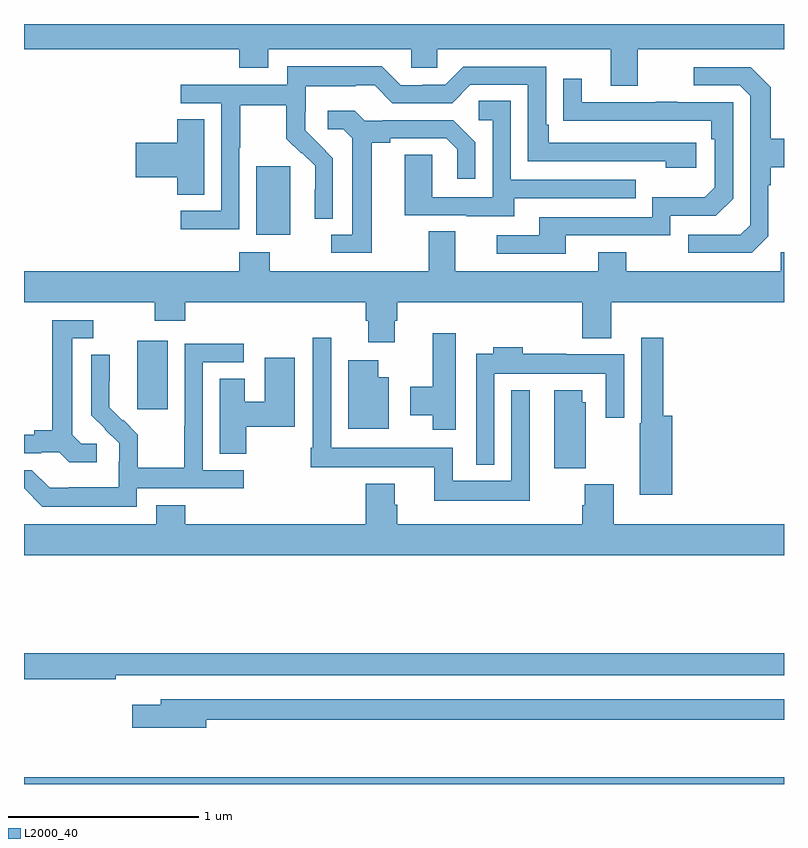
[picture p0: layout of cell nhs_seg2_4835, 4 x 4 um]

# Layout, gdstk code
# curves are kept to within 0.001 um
import gdstk
lib = gdstk.Library(unit=1e-6, precision=1e-09)
def R(c, l, rs):  # rectangles x0, y0, x1, y1
    for r in rs: c.add(gdstk.rectangle(r[:2], r[2:], *l))
def P(c, l, *ps):  # polygons
    for p in ps: c.add(gdstk.Polygon(p, *l))
L2000_40 = (2000, 40)

nhs_seg2_4835 = lib.new_cell('nhs_seg2_4835')
R(nhs_seg2_4835, L2000_40, [(375,611.8,379,611.836), (375.596,613.773,375.757,614.134), (376.223,614.69,376.402,615.051)])
P(nhs_seg2_4835, L2000_40, [(378.229,615.668),(379,615.668),(379,615.8),(375,615.8),(375,615.668),(376.133,615.668),(376.133,615.569),(376.285,615.569),(376.285,615.668),(377.037,615.668),(377.037,615.57),(377.175,615.57),(377.175,615.668),(378.089,615.668),(378.089,615.474),(378.229,615.474)],
  [(376.134,615.148),(376.137,615.148),(376.137,615.372),(376.381,615.372),(376.381,615.197),(376.458,615.12),(376.461,615.123),(376.532,615.053),(376.532,614.93),(376.53,614.93),(376.53,614.776),(376.626,614.776),(376.626,615.094),(376.48,615.242),(376.48,615.339),(376.482,615.339),(376.482,615.473),(376.745,615.473),(376.745,615.477),(376.845,615.477),(376.938,615.384),(377.253,615.384),(377.349,615.48),(377.652,615.48),(377.652,615.078),(378.377,615.078),(378.377,615.044),(378.538,615.044),(378.538,615.174),(377.761,615.174),(377.761,615.271),(377.748,615.271),(377.748,615.576),(377.313,615.576),(377.217,615.48),(377.099,615.48),(377.099,615.477),(376.983,615.477),(376.883,615.577),(376.386,615.577),(376.386,615.48),(375.825,615.48),(375.825,615.384),(376.038,615.384),(376.038,614.817),(375.825,614.817),(375.825,614.719),(376.134,614.719)],
  [(378.918,614.682),(378.918,614.951),(378.931,614.951),(378.931,615.047),(379,615.047),(379,615.195),(378.931,615.195),(378.931,615.467),(378.825,615.573),(378.525,615.573),(378.525,615.477),(378.768,615.477),(378.822,615.423),(378.822,614.742),(378.771,614.691),(378.495,614.691),(378.495,614.595),(378.831,614.595)],
  [(377.851,614.688),(378.402,614.688),(378.402,614.79),(378.642,614.79),(378.732,614.88),(378.732,615.387),(378.437,615.387),(378.437,615.392),(378.325,615.392),(378.325,615.387),(377.935,615.387),(377.935,615.511),(377.839,615.511),(377.839,615.292),(378.616,615.291),(378.616,615.194),(378.636,615.194),(378.636,614.94),(378.583,614.887),(378.306,614.887),(378.306,614.784),(377.711,614.784),(377.711,614.688),(377.487,614.688),(377.487,614.592),(377.851,614.592)],
  [(377.581,614.883),(378.221,614.883),(378.221,614.979),(377.562,614.979),(377.562,615.395),(377.394,615.395),(377.394,615.294),(377.466,615.294),(377.466,614.889),(377.148,614.889),(377.148,615.113),(377.003,615.113),(377.003,614.793),(377.327,614.793),(377.327,614.789),(377.581,614.789)],
  [(376.831,615.176),(376.927,615.176),(376.927,615.198),(377.222,615.198),(377.279,615.141),(377.279,614.985),(377.376,614.985),(377.376,615.178),(377.26,615.294),(376.888,615.294),(376.888,615.291),(376.794,615.291),(376.742,615.343),(376.599,615.343),(376.599,615.246),(376.68,615.246),(376.727,615.199),(376.727,614.691),(376.617,614.691),(376.617,614.595),(376.831,614.595)],
  [(375.949,615.299),(375.806,615.299),(375.806,615.176),(375.588,615.176),(375.588,614.993),(375.806,614.993),(375.806,614.902),(375.949,614.902)],
  [(376.951,614.238),(376.964,614.238),(376.964,614.336),(377.939,614.336),(377.939,614.147),(378.091,614.147),(378.091,614.336),(379,614.336),(379,614.599),(378.984,614.599),(378.984,614.5),(378.171,614.5),(378.171,614.599),(378.023,614.599),(378.023,614.5),(377.269,614.5),(377.269,614.708),(377.129,614.708),(377.129,614.5),(376.293,614.5),(376.293,614.599),(376.133,614.599),(376.133,614.5),(375,614.5),(375,614.336),(375.688,614.336),(375.688,614.237),(375.848,614.237),(375.848,614.336),(376.799,614.336),(376.799,614.238),(376.811,614.238),(376.811,614.124),(376.951,614.124)],
  [(375.382,613.59),(375.3,613.59),(375.253,613.637),(375.253,614.145),(375.364,614.145),(375.364,614.241),(375.149,614.241),(375.149,613.661),(375.053,613.661),(375.053,613.638),(375,613.638),(375,613.542),(375.092,613.542),(375.092,613.545),(375.186,613.545),(375.238,613.493),(375.382,613.493)],
  [(377.272,614.173),(377.15,614.173),(377.15,613.89),(377.033,613.89),(377.033,613.742),(377.15,613.742),(377.15,613.665),(377.272,613.665)],
  [(378.413,613.738),(378.365,613.738),(378.365,614.149),(378.249,614.149),(378.249,613.698),(378.242,613.698),(378.242,613.322),(378.413,613.322)],
  [(377.662,613.873),(377.565,613.873),(377.565,613.396),(377.256,613.396),(377.256,613.57),(376.617,613.57),(376.617,614.149),(376.521,614.149),(376.521,613.57),(376.509,613.57),(376.509,613.466),(377.159,613.466),(377.159,613.292),(377.662,613.292)],
  [(375.594,613.356),(376.156,613.356),(376.156,613.452),(375.942,613.452),(375.942,614.019),(376.156,614.019),(376.156,614.118),(375.846,614.118),(375.846,613.685),(375.844,613.685),(375.844,613.465),(375.599,613.465),(375.599,613.639),(375.522,613.716),(375.519,613.713),(375.449,613.784),(375.449,613.919),(375.451,613.919),(375.451,614.06),(375.354,614.06),(375.354,613.742),(375.5,613.594),(375.5,613.497),(375.498,613.497),(375.498,613.363),(375.235,613.363),(375.235,613.359),(375.135,613.359),(375.042,613.452),(375,613.452),(375,613.356),(375.097,613.259),(375.594,613.259)],
  [(377.475,613.958),(378.063,613.958),(378.063,613.728),(378.159,613.728),(378.159,614.062),(377.855,614.062),(377.855,614.065),(377.624,614.065),(377.624,614.098),(377.471,614.098),(377.471,614.065),(377.379,614.065),(377.379,613.481),(377.475,613.481)],
  [(376.17,613.679),(376.426,613.679),(376.426,614.044),(376.268,614.044),(376.268,613.813),(376.162,613.813),(376.162,613.934),(376.031,613.934),(376.031,613.537),(376.17,613.537)],
  [(376.921,613.942),(376.864,613.942),(376.864,614.029),(376.706,614.029),(376.706,613.67),(376.921,613.67)],
  [(377.956,613.809),(377.938,613.809),(377.938,613.873),(377.792,613.873),(377.792,613.462),(377.956,613.462)],
  [(379,613.168),(378.104,613.168),(378.104,613.377),(377.951,613.377),(377.951,613.268),(377.939,613.268),(377.939,613.168),(376.964,613.168),(376.964,613.269),(376.951,613.269),(376.951,613.381),(376.799,613.381),(376.799,613.168),(375.848,613.168),(375.848,613.267),(375.695,613.267),(375.695,613.168),(375,613.168),(375,613.004),(379,613.004)],
  [(375.482,612.372),(379,612.372),(379,612.488),(375,612.488),(375,612.352),(375.482,612.352)],
  [(375.958,612.138),(379,612.138),(379,612.246),(375.719,612.246),(375.719,612.217),(375.57,612.217),(375.57,612.095),(375.958,612.095)])

lib.write_gds('nhs_seg2_4835.gds')
